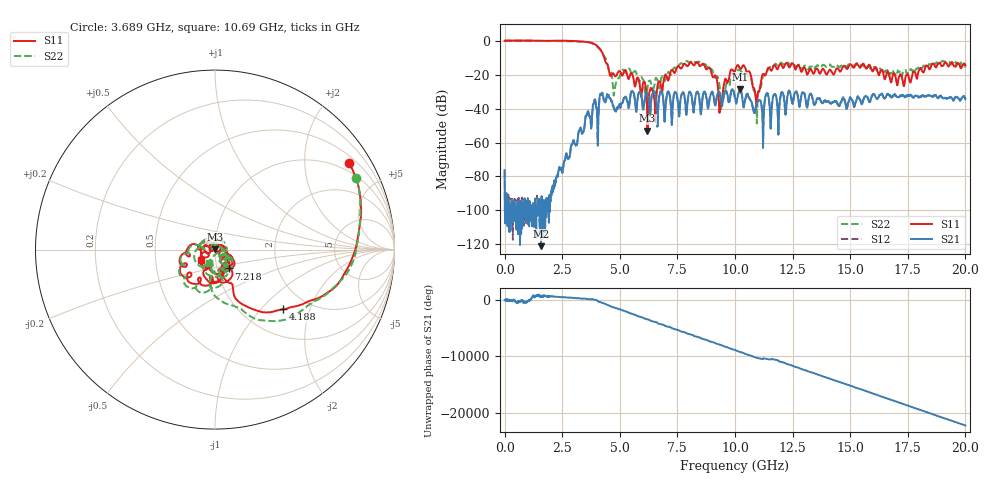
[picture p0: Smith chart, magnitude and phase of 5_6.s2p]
#  HZ  S  RI  R  50.00
! Rohde & Schwarz Vector Network Analyzer
! Rohde-Schwarz,ZNB20-2Port,1311601062102128,3.60
! Created: UTC 4/29/2024, 2:53:43 PM
! freq[Hz]  re:S11  im:S11  re:S21  im:S21  re:S12  im:S12  re:S22  im:S22
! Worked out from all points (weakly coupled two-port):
!   2007 points, 100 kHz to 20 GHz, reference 50 ohm
!   highest |S21| = -28.52 dB at 10.22 GHz (marker M1); lowest = -121.0 dB at 1.585 GHz (marker M2)
!   lowest |S11| = -53.1 dB at 6.201 GHz (marker M3), VSWR 1.00, Z = 49.8 + j0.161 ohm
!   |S11| at or under -10 dB: 4.324 GHz to end of sweep
!   |S22| runs from -48.7 to 0.1 dB; largest |S21 - S12| = 0.0023
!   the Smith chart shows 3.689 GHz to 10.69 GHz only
!   S11 on the Smith chart (normalised r, x): 3.689 GHz: 0.70, +3.27; 4.188 GHz: 1.50, -1.33; 7.218 GHz: 1.14, -0.24; 10.69 GHz: 0.85, -0.10
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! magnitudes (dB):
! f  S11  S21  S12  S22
! 100 kHz  0.0  -76.3  -76.8  0.1
! 1.585 GHz  -0.1  -121.0  -105.1  -0.2
! 2.233 GHz  0.0  -80.9  -81.5  -0.3
! 3.34 GHz  -0.6  -54.1  -53.7  -0.6
! 3.689 GHz  -1.0  -44.8  -44.7  -1.1
! 4.188 GHz  -6.0  -31.8  -32.0  -6.0
! 4.766 GHz  -20.3  -40.3  -40.3  -29.7
! 5.374 GHz  -22.5  -39.6  -39.6  -16.4
! 6.201 GHz  -53.1  -32.4  -32.4  -27.8
! 6.67 GHz  -24.7  -39.0  -39.1  -25.5
! 7.218 GHz  -17.7  -38.1  -38.2  -20.2
! 8.624 GHz  -13.7  -31.3  -31.3  -14.2
! 9.153 GHz  -20.6  -38.2  -38.2  -21.9
! 9.382 GHz  -36.1  -34.1  -34.2  -35.2
! 10 GHz  -18.1  -33.6  -33.6  -20.2
! 10.22 GHz  -16.5  -28.5  -28.5  -17.4
! 10.69 GHz  -20.5  -35.5  -35.5  -21.6
! 10.93 GHz  -37.5  -37.6  -37.5  -37.7
! 11.71 GHz  -14.5  -31.8  -31.7  -14.1
! 13.34 GHz  -18.0  -32.7  -32.7  -15.3
! 16.67 GHz  -19.1  -31.8  -31.8  -20.5
! 20 GHz  -14.6  -34.6  -34.6  -14.3
